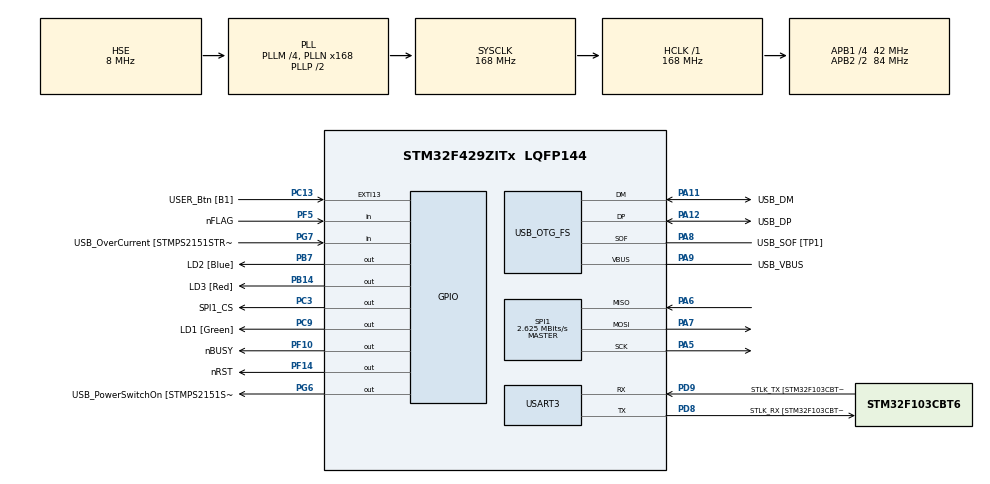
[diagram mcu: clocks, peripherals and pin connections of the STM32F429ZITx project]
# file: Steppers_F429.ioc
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Mcu.Family=STM32F4
Mcu.Name=STM32F429ZITx
Mcu.Package=LQFP144
NVIC.PriorityGroup=NVIC_PRIORITYGROUP_4
NVIC.USART3_IRQn=true\:0\:0\:false\:false\:true\:true\:true
PA1.GPIO_Label=RMII_REF_CLK [LAN8742A-CZ-TR_REFCLK0]
PA1.Signal=ETH_REF_CLK
PA10.GPIO_Label=USB_ID
PA10.Signal=USB_OTG_FS_ID
PA11.GPIO_Label=USB_DM
PA11.Mode=Device_Only
PA11.Signal=USB_OTG_FS_DM
PA12.GPIO_Label=USB_DP
PA12.Mode=Device_Only
PA12.Signal=USB_OTG_FS_DP
PA13.GPIO_Label=TMS
PA13.Mode=Serial_Wire
PA13.Signal=SYS_JTMS-SWDIO
PA14.GPIO_Label=TCK
PA14.Mode=Serial_Wire
PA14.Signal=SYS_JTCK-SWCLK
PA2.GPIO_Label=RMII_MDIO [LAN8742A-CZ-TR_MDIO]
PA2.Signal=ETH_MDIO
PA5.Mode=Full_Duplex_Master
PA5.Signal=SPI1_SCK
PA6.Mode=Full_Duplex_Master
PA6.Signal=SPI1_MISO
PA7.Mode=Full_Duplex_Master
PA7.Signal=SPI1_MOSI
PA8.GPIO_Label=USB_SOF [TP1]
PA8.Mode=Activate_SOF_FS
PA8.Signal=USB_OTG_FS_SOF
PA9.GPIO_Label=USB_VBUS
PA9.Mode=Activate_VBUS
PA9.Signal=USB_OTG_FS_VBUS
PB13.GPIO_Label=RMII_TXD1 [LAN8742A-CZ-TR_TXD1]
PB13.Signal=ETH_TXD1
PB14.GPIO_Label=LD3 [Red]
PB14.Signal=GPIO_Output
PB7.GPIO_Label=LD2 [Blue]
PB7.Signal=GPIO_Output
PC1.GPIO_Label=RMII_MDC [LAN8742A-CZ-TR_MDC]
PC1.Signal=ETH_MDC
PC13.GPIO_Label=USER_Btn [B1]
PC13.Signal=GPXTI13
PC14/OSC32_IN.Mode=LSE-External-Oscillator
PC14/OSC32_IN.Signal=RCC_OSC32_IN
PC15/OSC32_OUT.Mode=LSE-External-Oscillator
PC15/OSC32_OUT.Signal=RCC_OSC32_OUT
PC3.GPIO_Label=SPI1_CS
PC3.PinState=GPIO_PIN_SET
PC3.Signal=GPIO_Output
PC4.GPIO_Label=RMII_RXD0 [LAN8742A-CZ-TR_RXD0]
PC4.Signal=ETH_RXD0
PC5.GPIO_Label=RMII_RXD1 [LAN8742A-CZ-TR_RXD1]
PC5.Signal=ETH_RXD1
PC9.GPIO_Label=LD1 [Green]
PC9.Signal=GPIO_Output
PD8.GPIO_Label=STLK_RX [STM32F103CBT6_PA3]
PD8.Mode=Asynchronous
PD8.Signal=USART3_TX
PD9.GPIO_Label=STLK_TX [STM32F103CBT6_PA2]
PD9.Mode=Asynchronous
PD9.Signal=USART3_RX
PF10.GPIO_Label=nBUSY
PF10.GPIO_PuPd=GPIO_PULLUP
PF10.Signal=GPIO_Output
PF14.GPIO_Label=nRST
PF14.PinState=GPIO_PIN_SET
PF14.Signal=GPIO_Output
PF5.GPIO_Label=nFLAG
PF5.GPIO_PuPd=GPIO_PULLUP
PF5.Signal=GPIO_Input
PG11.GPIO_Label=RMII_TX_EN [LAN8742A-CZ-TR_TXEN]
PG11.Signal=ETH_TX_EN
PG13.GPIO_Label=RMII_TXD0 [LAN8742A-CZ-TR_TXD0]
PG13.Signal=ETH_TXD0
PG6.GPIO_Label=USB_PowerSwitchOn [STMPS2151STR_EN]
PG6.Signal=GPIO_Output
PG7.GPIO_Label=USB_OverCurrent [STMPS2151STR_FAULT]
PG7.Signal=GPIO_Input
PH0/OSC_IN.GPIO_Label=MCO [STM32F103CBT6_PA8]
PH0/OSC_IN.Mode=HSE-External-Clock-Source
PH0/OSC_IN.Signal=RCC_OSC_IN
PH1/OSC_OUT.Mode=HSE-External-Clock-Source
PH1/OSC_OUT.Signal=RCC_OSC_OUT
ProjectManager.HeapSize=0x200
ProjectManager.StackSize=0x400
ProjectManager.TargetToolchain=TrueSTUDIO
RCC.48MHZClocksFreq_Value=48000000
RCC.AHBFreq_Value=168000000
RCC.APB1CLKDivider=RCC_HCLK_DIV4
RCC.APB1Freq_Value=42000000
RCC.APB1TimFreq_Value=84000000
RCC.APB2CLKDivider=RCC_HCLK_DIV2
RCC.APB2Freq_Value=84000000
RCC.APB2TimFreq_Value=168000000
RCC.CortexFreq_Value=168000000
RCC.HCLKFreq_Value=168000000
RCC.HSE_VALUE=8000000
RCC.HSI_VALUE=16000000
RCC.PLLM=4
RCC.PLLMUL=RCC_PLL_MUL9
RCC.PLLN=168
RCC.PLLQ=7
RCC.PRESCALERUSB=RCC_USBCLKSOURCE_PLL_DIV1_5
RCC.SYSCLKFreq_VALUE=168000000
RCC.SYSCLKSource=RCC_SYSCLKSOURCE_PLLCLK
RCC.SYSCLKSourceVirtual=RCC_SYSCLKSOURCE_PLLCLK
RCC.USBFreq_Value=48000000
RCC.VCOOutputFreq_Value=336000000
SPI1.BaudRatePrescaler=SPI_BAUDRATEPRESCALER_32
SPI1.CLKPhase=SPI_PHASE_2EDGE
SPI1.CLKPolarity=SPI_POLARITY_HIGH
SPI1.CalculateBaudRate=2.625 MBits/s
SPI1.Direction=SPI_DIRECTION_2LINES
SPI1.Mode=SPI_MODE_MASTER
SPI1.VirtualType=VM_MASTER
USART3.VirtualMode=VM_ASYNC
USB_OTG_FS.VirtualMode=Device_Only
board=NUCLEO-F429ZI

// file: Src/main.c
/* USER CODE BEGIN Header */
/**
 ******************************************************************************
 * @file           : main.c
 * @brief          : Main program body
 ******************************************************************************
 * @attention
 *
 * <h2><center>&copy; Copyright (c) 2019 STMicroelectronics.
 * All rights reserved.</center></h2>
 *
 * This software component is licensed by ST under BSD 3-Clause license,
 * the "License"; You may not use this file except in compliance with the
 * License. You may obtain a copy of the License at:
 *                        opensource.org/licenses/BSD-3-Clause
 *
 ******************************************************************************
 */
/* USER CODE END Header */

#include "main.h"

/* USER CODE BEGIN Includes */
#include <L6470_Driver.c>
#include <stdio.h>
#include <uartDecoder.c>
/* USER CODE END Includes */

SPI_HandleTypeDef hspi1;

UART_HandleTypeDef huart3;

PCD_HandleTypeDef hpcd_USB_OTG_FS;

/* USER CODE BEGIN PV */
extern uint16_t handlerUartFlag;
extern char handlerUart[200];
/* USER CODE END PV */

void SystemClock_Config(void);
static void MX_GPIO_Init(void);
static void MX_SPI1_Init(void);
static void MX_USART3_UART_Init(void);
static void MX_USB_OTG_FS_PCD_Init(void);
static void MX_GFXSIMULATOR_Init(void);
/* USER CODE BEGIN PFP */
void L6470_nCS_High(void);
void L6470_nCS_Low(void);
uint16_t L6470_nFLAG(void);
uint16_t L6470_nBUSY(void);

/* USER CODE END PFP */

/* USER CODE BEGIN 0 */

uint16_t L6470_nFLAG(void)
{
  uint16_t a;
  a = HAL_GPIO_ReadPin(nFLAG_GPIO_Port, nFLAG_Pin);
  return a;
}

uint16_t L6470_nBUSY(void)
{
  uint16_t a;
  a = HAL_GPIO_ReadPin(nBUSY_GPIO_Port, nBUSY_Pin);
  return a;
}
/* USER CODE END 0 */

int main(void)
{
  /* USER CODE BEGIN 1 */
  //uint16_t nFLAG, nBUSY;
  uint8_t rxData[10], txBuffer[20];
  //uint8_t msg1[2] = { 0x40, 0x40 };
  //uint8_t msg2[2] = { 0x00, 0x00 };
  //uint8_t msg3[2] = { 0x05, 0x50 };
  //uint8_t msg4[2] = { 0x00, 0x50 };
  //uint8_t msg5[2] = { 0x41, 0x41 };
  uint8_t max_speed[3] = { 0x02, 0xFF, 0xFF };
  uint8_t setMode = 0x02;

  /* USER CODE END 1 */

  /* MCU Configuration--------------------------------------------------------*/

  /* Reset of all peripherals, Initializes the Flash interface and the Systick. */
  HAL_Init();

  /* Configure the system clock */
  SystemClock_Config();

  /* Initialize all configured peripherals */
  MX_GPIO_Init();
  MX_SPI1_Init();
  MX_USART3_UART_Init();
  MX_USB_OTG_FS_PCD_Init();
  MX_GFXSIMULATOR_Init();
  /* USER CODE BEGIN 2 */
  HAL_GPIO_WritePin(SPI1_CS_GPIO_Port, SPI1_CS_Pin, GPIO_PIN_SET);
  HAL_GPIO_WritePin(nRST_GPIO_Port, nRST_Pin, GPIO_PIN_RESET);
  HAL_Delay(10);
  HAL_GPIO_WritePin(nRST_GPIO_Port, nRST_Pin, GPIO_PIN_SET);
  HAL_Delay(10);

  L6470_SetParam(STEP_MODE, &setMode, 1, 2);
  L6470_SetParam(STEP_MODE, (uint8_t*) 0x00, 1, 1);
  L6470_SetParam(MAX_SPEED, &max_speed[0], 3, 1);
  L6470_SetParam(MAX_SPEED, &max_speed[0], 3, 2);
  L6470_GetParam(KVAL_RUN, &rxData[0], 1, 2);
  sprintf(txBuffer, "KVAL_RUN: %x\n\r", rxData[0]);
  HAL_UART_Transmit(&huart3, &txBuffer[0], strlen(txBuffer), 100);
  L6470_SetParam(KVAL_RUN, (uint8_t *) 0x20, 1, 1);
  L6470_SetParam(KVAL_RUN, (uint8_t *) 0xF0, 1, 2);
  L6470_GetParam(KVAL_RUN, &rxData[0], 1, 2);
  sprintf(txBuffer, "KVAL_RUN: 0x%x\n\r", rxData[0]);
  HAL_UART_Transmit(&huart3, txBuffer, strlen(txBuffer), 100);
  L6470_GetStatus(rxData, 1);
  sprintf(txBuffer, "Status no 1: 0x%x\n\r", rxData[0]);
  HAL_UART_Transmit(&huart3, txBuffer, strlen(txBuffer), 100);
  L6470_GetStatus(rxData, 2);
  sprintf(txBuffer, "Status no 2: 0x%x\n\r", rxData[0]);
  HAL_UART_Transmit(&huart3, txBuffer, strlen(txBuffer), 100);

  initUartDecode();

  /* USER CODE END 2 */

  /* Infinite loop */
  while (1)
  {

    /* USER CODE BEGIN 3 */
    // nFLAG = HAL_GPIO_ReadPin(nFLAG_GPIO_Port, nFLAG_Pin);
    // nBUSY = L6470_nBUSY();
    // L6470_GetStatus(rxData, 1);
    // sprintf(txBuffer, "Status no 1: 0x%x\n\r", rxData[0]);
    // HAL_UART_Transmit(&huart3, txBuffer, strlen(txBuffer), 100);
    // L6470_GetStatus(rxData, 2);
    // sprintf(txBuffer, "Status no 2: 0x%x\n\r", rxData[0]);
    // HAL_UART_Transmit(&huart3, txBuffer, strlen(txBuffer), 100);
    // L6470_Run(5000, FORWARD, 1);
    // L6470_Run(9000, FORWARD, 2);
    // HAL_Delay(5000);
    // L6470_Run(2000, REVERSE, 1);
    // L6470_Run(12000, REVERSE, 2);

    // HAL_Delay(5000);

    if(handlerUartFlag == 1) handlerUartFlag = decoderMsg(handlerUart);
  }
  /* USER CODE END 3 */
}

void SystemClock_Config(void)
{
  RCC_OscInitTypeDef RCC_OscInitStruct = {0};
  RCC_ClkInitTypeDef RCC_ClkInitStruct = {0};

  /** Configure the main internal regulator output voltage
  */
  __HAL_RCC_PWR_CLK_ENABLE();
  __HAL_PWR_VOLTAGESCALING_CONFIG(PWR_REGULATOR_VOLTAGE_SCALE1);
  /** Initializes the CPU, AHB and APB busses clocks
  */
  RCC_OscInitStruct.OscillatorType = RCC_OSCILLATORTYPE_HSE;
  RCC_OscInitStruct.HSEState = RCC_HSE_BYPASS;
  RCC_OscInitStruct.PLL.PLLState = RCC_PLL_ON;
  RCC_OscInitStruct.PLL.PLLSource = RCC_PLLSOURCE_HSE;
  RCC_OscInitStruct.PLL.PLLM = 4;
  RCC_OscInitStruct.PLL.PLLN = 168;
  RCC_OscInitStruct.PLL.PLLP = RCC_PLLP_DIV2;
  RCC_OscInitStruct.PLL.PLLQ = 7;
  if (HAL_RCC_OscConfig(&RCC_OscInitStruct) != HAL_OK)
  {
    Error_Handler();
  }
  /** Initializes the CPU, AHB and APB busses clocks
  */
  RCC_ClkInitStruct.ClockType = RCC_CLOCKTYPE_HCLK|RCC_CLOCKTYPE_SYSCLK
                              |RCC_CLOCKTYPE_PCLK1|RCC_CLOCKTYPE_PCLK2;
  RCC_ClkInitStruct.SYSCLKSource = RCC_SYSCLKSOURCE_PLLCLK;
  RCC_ClkInitStruct.AHBCLKDivider = RCC_SYSCLK_DIV1;
  RCC_ClkInitStruct.APB1CLKDivider = RCC_HCLK_DIV4;
  RCC_ClkInitStruct.APB2CLKDivider = RCC_HCLK_DIV2;

  if (HAL_RCC_ClockConfig(&RCC_ClkInitStruct, FLASH_LATENCY_5) != HAL_OK)
  {
    Error_Handler();
  }
}

static void MX_GFXSIMULATOR_Init(void)
{

}

static void MX_SPI1_Init(void)
{

  /* SPI1 parameter configuration*/
  hspi1.Instance = SPI1;
  hspi1.Init.Mode = SPI_MODE_MASTER;
  hspi1.Init.Direction = SPI_DIRECTION_2LINES;
  hspi1.Init.DataSize = SPI_DATASIZE_8BIT;
  hspi1.Init.CLKPolarity = SPI_POLARITY_HIGH;
  hspi1.Init.CLKPhase = SPI_PHASE_2EDGE;
  hspi1.Init.NSS = SPI_NSS_SOFT;
  hspi1.Init.BaudRatePrescaler = SPI_BAUDRATEPRESCALER_32;
  hspi1.Init.FirstBit = SPI_FIRSTBIT_MSB;
  hspi1.Init.TIMode = SPI_TIMODE_DISABLE;
  hspi1.Init.CRCCalculation = SPI_CRCCALCULATION_DISABLE;
  hspi1.Init.CRCPolynomial = 10;
  if (HAL_SPI_Init(&hspi1) != HAL_OK)
  {
    Error_Handler();
  }

}

static void MX_USART3_UART_Init(void)
{

  huart3.Instance = USART3;
  huart3.Init.BaudRate = 115200;
  huart3.Init.WordLength = UART_WORDLENGTH_8B;
  huart3.Init.StopBits = UART_STOPBITS_1;
  huart3.Init.Parity = UART_PARITY_NONE;
  huart3.Init.Mode = UART_MODE_TX_RX;
  huart3.Init.HwFlowCtl = UART_HWCONTROL_NONE;
  huart3.Init.OverSampling = UART_OVERSAMPLING_16;
  if (HAL_UART_Init(&huart3) != HAL_OK)
  {
    Error_Handler();
  }

}

static void MX_USB_OTG_FS_PCD_Init(void)
{

  hpcd_USB_OTG_FS.Instance = USB_OTG_FS;
  hpcd_USB_OTG_FS.Init.dev_endpoints = 4;
  hpcd_USB_OTG_FS.Init.speed = PCD_SPEED_FULL;
  hpcd_USB_OTG_FS.Init.dma_enable = DISABLE;
  hpcd_USB_OTG_FS.Init.phy_itface = PCD_PHY_EMBEDDED;
  hpcd_USB_OTG_FS.Init.Sof_enable = ENABLE;
  hpcd_USB_OTG_FS.Init.low_power_enable = DISABLE;
  hpcd_USB_OTG_FS.Init.lpm_enable = DISABLE;
  hpcd_USB_OTG_FS.Init.vbus_sensing_enable = ENABLE;
  hpcd_USB_OTG_FS.Init.use_dedicated_ep1 = DISABLE;
  if (HAL_PCD_Init(&hpcd_USB_OTG_FS) != HAL_OK)
  {
    Error_Handler();
  }

}

static void MX_GPIO_Init(void)
{
  GPIO_InitTypeDef GPIO_InitStruct = {0};

  /* GPIO Ports Clock Enable */
  __HAL_RCC_GPIOC_CLK_ENABLE();
  __HAL_RCC_GPIOF_CLK_ENABLE();
  __HAL_RCC_GPIOH_CLK_ENABLE();
  __HAL_RCC_GPIOA_CLK_ENABLE();
  __HAL_RCC_GPIOB_CLK_ENABLE();
  __HAL_RCC_GPIOD_CLK_ENABLE();
  __HAL_RCC_GPIOG_CLK_ENABLE();

  /*Configure GPIO pin Output Level */
  HAL_GPIO_WritePin(nBUSY_GPIO_Port, nBUSY_Pin, GPIO_PIN_RESET);

  /*Configure GPIO pin Output Level */
  HAL_GPIO_WritePin(SPI1_CS_GPIO_Port, SPI1_CS_Pin, GPIO_PIN_SET);

  /*Configure GPIO pin Output Level */
  HAL_GPIO_WritePin(nRST_GPIO_Port, nRST_Pin, GPIO_PIN_SET);

  /*Configure GPIO pin Output Level */
  HAL_GPIO_WritePin(GPIOB, LD3_Pin|LD2_Pin, GPIO_PIN_RESET);

  /*Configure GPIO pin Output Level */
  HAL_GPIO_WritePin(USB_PowerSwitchOn_GPIO_Port, USB_PowerSwitchOn_Pin, GPIO_PIN_RESET);

  /*Configure GPIO pin Output Level */
  HAL_GPIO_WritePin(LD1_GPIO_Port, LD1_Pin, GPIO_PIN_RESET);

  /*Configure GPIO pin : USER_Btn_Pin */
  GPIO_InitStruct.Pin = USER_Btn_Pin;
  GPIO_InitStruct.Mode = GPIO_MODE_IT_RISING;
  GPIO_InitStruct.Pull = GPIO_NOPULL;
  HAL_GPIO_Init(USER_Btn_GPIO_Port, &GPIO_InitStruct);

  /*Configure GPIO pin : nFLAG_Pin */
  GPIO_InitStruct.Pin = nFLAG_Pin;
  GPIO_InitStruct.Mode = GPIO_MODE_INPUT;
  GPIO_InitStruct.Pull = GPIO_PULLUP;
  HAL_GPIO_Init(nFLAG_GPIO_Port, &GPIO_InitStruct);

  /*Configure GPIO pin : nBUSY_Pin */
  GPIO_InitStruct.Pin = nBUSY_Pin;
  GPIO_InitStruct.Mode = GPIO_MODE_OUTPUT_PP;
  GPIO_InitStruct.Pull = GPIO_PULLUP;
  GPIO_InitStruct.Speed = GPIO_SPEED_FREQ_LOW;
  HAL_GPIO_Init(nBUSY_GPIO_Port, &GPIO_InitStruct);

  /*Configure GPIO pins : RMII_MDC_Pin RMII_RXD0_Pin RMII_RXD1_Pin */
  GPIO_InitStruct.Pin = RMII_MDC_Pin|RMII_RXD0_Pin|RMII_RXD1_Pin;
  GPIO_InitStruct.Mode = GPIO_MODE_AF_PP;
  GPIO_InitStruct.Pull = GPIO_NOPULL;
  GPIO_InitStruct.Speed = GPIO_SPEED_FREQ_VERY_HIGH;
  GPIO_InitStruct.Alternate = GPIO_AF11_ETH;
  HAL_GPIO_Init(GPIOC, &GPIO_InitStruct);

  /*Configure GPIO pins : SPI1_CS_Pin LD1_Pin */
  GPIO_InitStruct.Pin = SPI1_CS_Pin|LD1_Pin;
  GPIO_InitStruct.Mode = GPIO_MODE_OUTPUT_PP;
  GPIO_InitStruct.Pull = GPIO_NOPULL;
  GPIO_InitStruct.Speed = GPIO_SPEED_FREQ_LOW;
  HAL_GPIO_Init(GPIOC, &GPIO_InitStruct);

  /*Configure GPIO pins : RMII_REF_CLK_Pin RMII_MDIO_Pin */
  GPIO_InitStruct.Pin = RMII_REF_CLK_Pin|RMII_MDIO_Pin;
  GPIO_InitStruct.Mode = GPIO_MODE_AF_PP;
  GPIO_InitStruct.Pull = GPIO_NOPULL;
  GPIO_InitStruct.Speed = GPIO_SPEED_FREQ_VERY_HIGH;
  GPIO_InitStruct.Alternate = GPIO_AF11_ETH;
  HAL_GPIO_Init(GPIOA, &GPIO_InitStruct);

  /*Configure GPIO pin : nRST_Pin */
  GPIO_InitStruct.Pin = nRST_Pin;
  GPIO_InitStruct.Mode = GPIO_MODE_OUTPUT_PP;
  GPIO_InitStruct.Pull = GPIO_NOPULL;
  GPIO_InitStruct.Speed = GPIO_SPEED_FREQ_LOW;
  HAL_GPIO_Init(nRST_GPIO_Port, &GPIO_InitStruct);

  /*Configure GPIO pin : RMII_TXD1_Pin */
  GPIO_InitStruct.Pin = RMII_TXD1_Pin;
  GPIO_InitStruct.Mode = GPIO_MODE_AF_PP;
  GPIO_InitStruct.Pull = GPIO_NOPULL;
  GPIO_InitStruct.Speed = GPIO_SPEED_FREQ_VERY_HIGH;
  GPIO_InitStruct.Alternate = GPIO_AF11_ETH;
  HAL_GPIO_Init(RMII_TXD1_GPIO_Port, &GPIO_InitStruct);

  /*Configure GPIO pins : LD3_Pin LD2_Pin */
  GPIO_InitStruct.Pin = LD3_Pin|LD2_Pin;
  GPIO_InitStruct.Mode = GPIO_MODE_OUTPUT_PP;
  GPIO_InitStruct.Pull = GPIO_NOPULL;
  GPIO_InitStruct.Speed = GPIO_SPEED_FREQ_LOW;
  HAL_GPIO_Init(GPIOB, &GPIO_InitStruct);

  /*Configure GPIO pin : USB_PowerSwitchOn_Pin */
  GPIO_InitStruct.Pin = USB_PowerSwitchOn_Pin;
  GPIO_InitStruct.Mode = GPIO_MODE_OUTPUT_PP;
  GPIO_InitStruct.Pull = GPIO_NOPULL;
  GPIO_InitStruct.Speed = GPIO_SPEED_FREQ_LOW;
  HAL_GPIO_Init(USB_PowerSwitchOn_GPIO_Port, &GPIO_InitStruct);

  /*Configure GPIO pin : USB_OverCurrent_Pin */
  GPIO_InitStruct.Pin = USB_OverCurrent_Pin;
  GPIO_InitStruct.Mode = GPIO_MODE_INPUT;
  GPIO_InitStruct.Pull = GPIO_NOPULL;
  HAL_GPIO_Init(USB_OverCurrent_GPIO_Port, &GPIO_InitStruct);

  /*Configure GPIO pins : RMII_TX_EN_Pin RMII_TXD0_Pin */
  GPIO_InitStruct.Pin = RMII_TX_EN_Pin|RMII_TXD0_Pin;
  GPIO_InitStruct.Mode = GPIO_MODE_AF_PP;
  GPIO_InitStruct.Pull = GPIO_NOPULL;
  GPIO_InitStruct.Speed = GPIO_SPEED_FREQ_VERY_HIGH;
  GPIO_InitStruct.Alternate = GPIO_AF11_ETH;
  HAL_GPIO_Init(GPIOG, &GPIO_InitStruct);

}

void Error_Handler(void)
{
}

/************************ (C) COPYRIGHT STMicroelectronics *****END OF FILE****/
